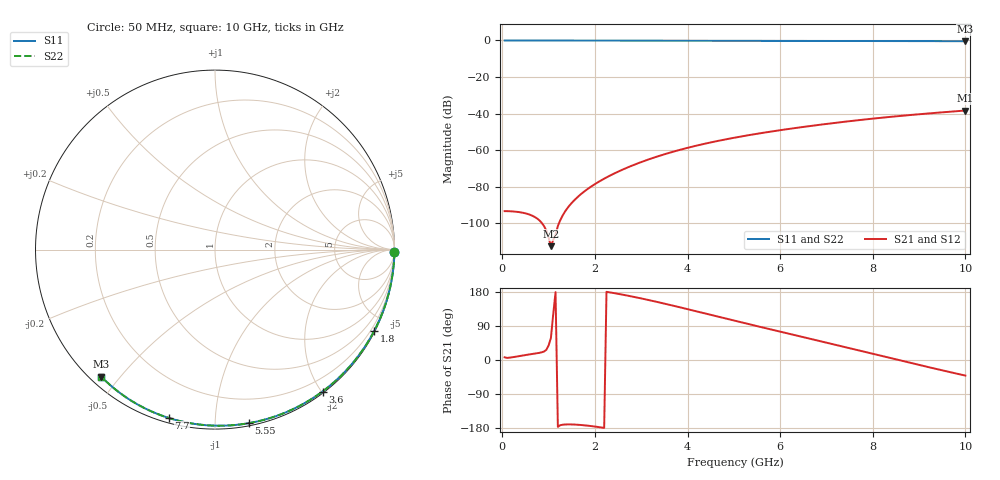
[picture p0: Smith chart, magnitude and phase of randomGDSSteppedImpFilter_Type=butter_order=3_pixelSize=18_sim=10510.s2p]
! freq	dB(S11)	phase(S11)	dB(S12)	phase(S12)
!  dB(S21)	phase(S21)	dB(S22)	phase(S22)
!S-par simulation data
#  GHz  S  DB  R 50
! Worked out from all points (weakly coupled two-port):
!   200 points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, 50 MHz to 10 GHz, reference 50 ohm
!   highest |S21| = -38.33 dB at 10 GHz (marker M1); lowest = -112.5 dB at 1.05 GHz (marker M2)
!   lowest |S11| = -0.4 dB at 10 GHz (marker M3), VSWR 39.05, Z = 1.54 - j22.3 ohm
!   |S11| at or under -10 dB: nowhere
!   |S22| runs from -0.4 to 0.0 dB; largest |S21 - S12| = 0
!   S11 on the Smith chart (normalised r, x): 50 MHz: open; 1.8 GHz: 0.04, -4.16; 3.6 GHz: 0.02, -2.01; 5.55 GHz: 0.02, -1.21; 7.7 GHz: 0.02, -0.76; 10 GHz: 0.03, -0.45
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0.05  -0.00 -0.7  -93.38 7.1  -93.38 7.1  -0.00 -0.7
0.55  -0.01 -8.3  -94.95 14.0  -94.95 14.0  -0.01 -8.3
1.05  -0.02 -15.9  -112.55 58.3  -112.55 58.3  -0.02 -15.9
1.75  -0.03 -26.3  -83.02 -172.1  -83.02 -172.1  -0.03 -26.3
1.8  -0.03 -27.0  -82.05 -172.7  -82.05 -172.7  -0.03 -27.0
1.9  -0.04 -28.5  -80.25 -174.1  -80.25 -174.1  -0.04 -28.5
1.95  -0.04 -29.2  -79.40 -174.8  -79.40 -174.8  -0.04 -29.2
2.25  -0.04 -33.6  -74.93 179.9  -74.93 179.9  -0.04 -33.6
2.55  -0.05 -38.0  -71.20 173.5  -71.20 173.5  -0.05 -38.0
2.95  -0.06 -43.7  -67.00 163.8  -67.00 163.8  -0.06 -43.7
3.4  -0.07 -50.1  -63.06 151.6  -63.06 151.6  -0.07 -50.1
3.6  -0.07 -52.9  -61.51 145.9  -61.51 145.9  -0.07 -52.8
3.9  -0.08 -57.0  -59.40 137.2  -59.40 137.2  -0.08 -57.0
4.3  -0.09 -62.5  -56.91 125.2  -56.91 125.2  -0.09 -62.5
5.05  -0.11 -72.4  -53.03 102.7  -53.03 102.7  -0.11 -72.4
5.55  -0.13 -78.9  -50.85 87.9  -50.85 87.9  -0.13 -78.9
6.1  -0.15 -85.9  -48.72 71.9  -48.72 71.9  -0.15 -85.9
6.7  -0.18 -93.4  -46.64 54.5  -46.64 54.5  -0.18 -93.4
7.7  -0.24 -105.4  -43.59 25.3  -43.59 25.3  -0.24 -105.4
8.35  -0.29 -113.0  -41.87 6.1  -41.87 6.1  -0.29 -113.0
9.15  -0.36 -122.2  -40.05 -17.3  -40.05 -17.3  -0.36 -122.2
10  -0.44 -131.9  -38.33 -41.1  -38.33 -41.1  -0.44 -131.8
